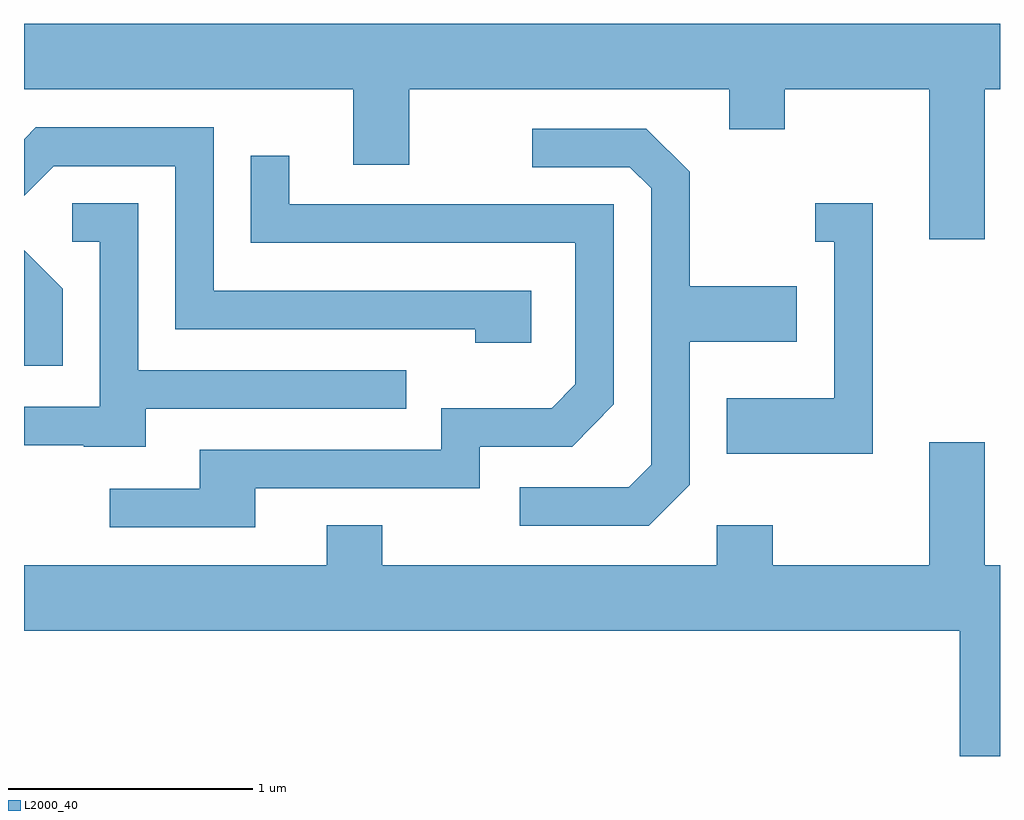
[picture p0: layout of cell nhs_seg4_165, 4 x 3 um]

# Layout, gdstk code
import gdstk
lib = gdstk.Library(unit=1e-6, precision=1e-09)
def P(c, l, *ps):  # polygons
    for p in ps: c.add(gdstk.Polygon(p, *l))
L2000_40 = (2000, 40)

nhs_seg4_165 = lib.new_cell('nhs_seg4_165')
P(nhs_seg4_165, L2000_40, [(193.549,1314.716),(193.611,1314.716),(193.611,1314.984),(189.611,1314.984),(189.611,1314.716),(190.961,1314.716),(190.961,1314.406),(191.189,1314.406),(191.189,1314.716),(192.501,1314.716),(192.501,1314.551),(192.729,1314.551),(192.729,1314.716),(193.321,1314.716),(193.321,1314.101),(193.549,1314.101)],
  [(191.689,1313.889),(190.389,1313.889),(190.389,1314.559),(189.659,1314.559),(189.611,1314.511),(189.611,1314.28),(189.732,1314.401),(190.231,1314.401),(190.231,1313.731),(191.461,1313.731),(191.461,1313.676),(191.689,1313.676)],
  [(192.339,1313.094),(192.339,1313.681),(192.779,1313.681),(192.779,1313.909),(192.339,1313.909),(192.339,1314.377),(192.162,1314.554),(191.693,1314.554),(191.693,1314.396),(192.094,1314.396),(192.181,1314.309),(192.181,1313.177),(192.089,1313.084),(191.643,1313.084),(191.643,1312.926),(192.172,1312.926)],
  [(190.559,1313.081),(191.479,1313.081),(191.479,1313.251),(191.857,1313.251),(192.029,1313.424),(192.029,1314.244),(190.699,1314.244),(190.699,1314.443),(190.541,1314.443),(190.541,1314.086),(191.871,1314.086),(191.871,1313.507),(191.774,1313.409),(191.321,1313.409),(191.321,1313.239),(190.331,1313.239),(190.331,1313.079),(189.963,1313.079),(189.963,1312.921),(190.559,1312.921)],
  [(190.109,1313.406),(191.178,1313.406),(191.178,1313.564),(190.079,1313.564),(190.079,1314.249),(189.808,1314.249),(189.808,1314.091),(189.921,1314.091),(189.921,1313.414),(189.611,1313.414),(189.611,1313.256),(189.855,1313.256),(189.855,1313.251),(190.109,1313.251)],
  [(193.089,1314.249),(192.853,1314.249),(192.853,1314.091),(192.931,1314.091),(192.931,1313.449),(192.491,1313.449),(192.491,1313.221),(193.089,1313.221)],
  [(189.769,1313.897),(189.611,1314.055),(189.611,1313.583),(189.769,1313.583)],
  [(193.611,1312.764),(193.549,1312.764),(193.549,1313.269),(193.321,1313.269),(193.321,1312.764),(192.679,1312.764),(192.679,1312.929),(192.451,1312.929),(192.451,1312.764),(191.079,1312.764),(191.079,1312.929),(190.851,1312.929),(190.851,1312.764),(189.611,1312.764),(189.611,1312.496),(193.446,1312.496),(193.446,1311.982),(193.611,1311.982)])

lib.write_gds('nhs_seg4_165.gds')
